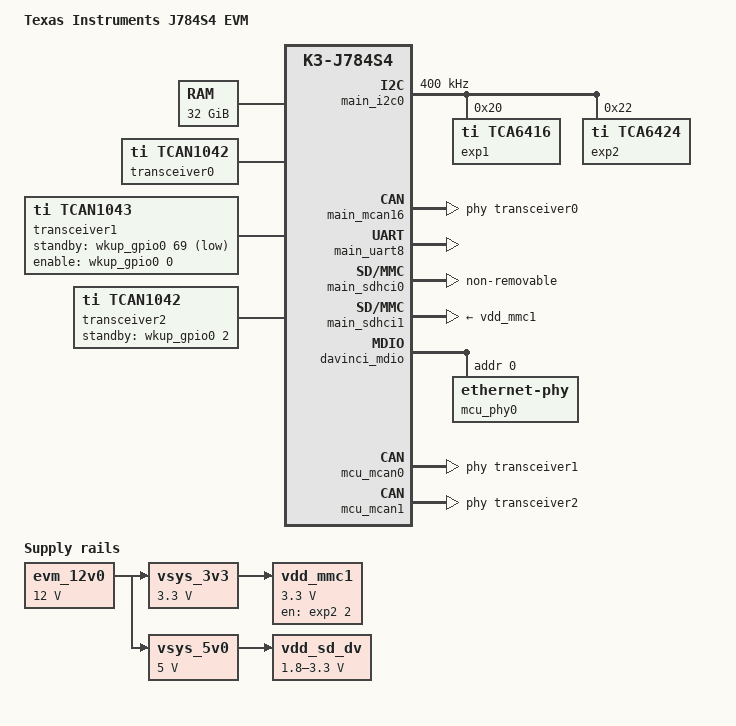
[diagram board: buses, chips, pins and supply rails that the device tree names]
// SPDX-License-Identifier: GPL-2.0
/*
 * Copyright (C) 2022 Texas Instruments Incorporated - https://www.ti.com/
 *
 * Common Processor Board: https://www.ti.com/tool/J721EXCPXEVM
 */

/dts-v1/;

#include "k3-j784s4.dtsi"
#include <dt-bindings/gpio/gpio.h>
#include <dt-bindings/net/ti-dp83867.h>
#include <dt-bindings/phy/phy-cadence.h>
#include <dt-bindings/phy/phy.h>

/ {
	compatible = "ti,j784s4-evm", "ti,j784s4";
	model = "Texas Instruments J784S4 EVM";

	chosen {
		stdout-path = "serial2:115200n8";
		bootargs = "console=ttyS2,115200n8 earlycon=ns16550a,mmio32,0x2880000";
	};
	aliases {
		serial2 = &main_uart8;
		mmc0 = &main_sdhci0;
		mmc1 = &main_sdhci1;
		can0 = &main_mcan16;
		can1 = &mcu_mcan0;
		can2 = &mcu_mcan1;
		remoteproc0 = &mcu_r5fss0_core0;
		remoteproc1 = &mcu_r5fss0_core1;
		remoteproc2 = &main_r5fss0_core0;
		remoteproc3 = &main_r5fss0_core1;
		remoteproc4 = &main_r5fss1_core0;
		remoteproc5 = &main_r5fss1_core1;
		remoteproc6 = &main_r5fss2_core0;
		remoteproc7 = &main_r5fss2_core1;
		remoteproc8 = &c71_0;
		remoteproc9 = &c71_1;
		remoteproc10 = &c71_2;
		remoteproc11 = &c71_3;
	};

	memory@80000000 {
		device_type = "memory";
		/* 8G RAM */
		reg = <0x00 0x80000000 0x00 0x80000000>,
		       <0x08 0x80000000 0x07 0x80000000>;
	};

	/* Reserving memory regions still pending */
	reserved_memory: reserved-memory {
		#address-cells = <2>;
		#size-cells = <2>;
		ranges;

		secure_ddr: optee@9e800000 {
			reg = <0x00 0x9e800000 0x00 0x01800000>;
			alignment = <0x1000>;
			no-map;
		};

	};

	transceiver0: can-phy0 {
		/* standby pin has been grounded by default */
		compatible = "ti,tcan1042";
		#phy-cells = <0>;
		max-bitrate = <5000000>;
	};

	evm_12v0: fixedregulator-evm12v0 {
		/* main supply */
		compatible = "regulator-fixed";
		regulator-name = "evm_12v0";
		regulator-min-microvolt = <12000000>;
		regulator-max-microvolt = <12000000>;
		regulator-always-on;
		regulator-boot-on;
	};

	vsys_3v3: fixedregulator-vsys3v3 {
		/* Output of LM5140 */
		compatible = "regulator-fixed";
		regulator-name = "vsys_3v3";
		regulator-min-microvolt = <3300000>;
		regulator-max-microvolt = <3300000>;
		vin-supply = <&evm_12v0>;
		regulator-always-on;
		regulator-boot-on;
	};

	vsys_5v0: fixedregulator-vsys5v0 {
		/* Output of LM5140 */
		compatible = "regulator-fixed";
		regulator-name = "vsys_5v0";
		regulator-min-microvolt = <5000000>;
		regulator-max-microvolt = <5000000>;
		vin-supply = <&evm_12v0>;
		regulator-always-on;
		regulator-boot-on;
	};

	vdd_mmc1: fixedregulator-sd {
		/* Output of TPS22918 */
		compatible = "regulator-fixed";
		regulator-name = "vdd_mmc1";
		regulator-min-microvolt = <3300000>;
		regulator-max-microvolt = <3300000>;
		regulator-boot-on;
		enable-active-high;
		vin-supply = <&vsys_3v3>;
		gpio = <&exp2 2 GPIO_ACTIVE_HIGH>;
	};

	vdd_sd_dv: gpio-regulator-TLV71033 {
		/* Output of TLV71033 */
		compatible = "regulator-gpio";
		regulator-name = "tlv71033";
		pinctrl-names = "default";
		pinctrl-0 = <&vdd_sd_dv_pins_default>;
		regulator-min-microvolt = <1800000>;
		regulator-max-microvolt = <3300000>;
		regulator-boot-on;
		vin-supply = <&vsys_5v0>;
		gpios = <&main_gpio0 8 GPIO_ACTIVE_HIGH>;
		states = <1800000 0x0>,
			 <3300000 0x1>;
	};

	transceiver1: can-phy1 {
		compatible = "ti,tcan1043";
		#phy-cells = <0>;
		max-bitrate = <5000000>;
		pinctrl-names = "default";
		pinctrl-0 = <&mcu_mcan0_gpio_pins_default>;
		standby-gpios = <&wkup_gpio0 69 GPIO_ACTIVE_LOW>;
		enable-gpios = <&wkup_gpio0 0 GPIO_ACTIVE_HIGH>;
	};

	transceiver2: can-phy2 {
		compatible = "ti,tcan1042";
		#phy-cells = <0>;
		max-bitrate = <5000000>;
		pinctrl-names = "default";
		pinctrl-0 = <&mcu_mcan1_gpio_pins_default>;
		standby-gpios = <&wkup_gpio0 2 GPIO_ACTIVE_HIGH>;
	};

};

&main_pmx0 {
	main_i2c0_pins_default: main-i2c0-pins-default {
		pinctrl-single,pins = <
			J784S4_IOPAD(0x0e0, PIN_INPUT_PULLUP, 0) /* (AN36) I2C0_SCL */
			J784S4_IOPAD(0x0e4, PIN_INPUT_PULLUP, 0) /* (AP37) I2C0_SDA */
		>;
	};

	main_mcan16_pins_default: main-mcan16-pins-default {
		pinctrl-single,pins = <
			J784S4_IOPAD(0x028, PIN_INPUT, 0) /* (AE33) MCAN16_RX */
			J784S4_IOPAD(0x024, PIN_OUTPUT, 0) /* (AH34) MCAN16_TX */
		>;
	};
};

&main_i2c0 {
	pinctrl-names = "default";
	pinctrl-0 = <&main_i2c0_pins_default>;
	clock-frequency = <400000>;

	exp1: gpio@20 {
		compatible = "ti,tca6416";
		reg = <0x20>;
		gpio-controller;
		#gpio-cells = <2>;
		gpio-line-names = "PCIE1_2L_MODE_SEL", "PCIE1_4L_PERSTZ", "PCIE1_2L_RC_RSTZ",
				  "PCIE1_2L_EP_RST_EN", "PCIE0_4L_MODE_SEL", "PCIE0_4L_PERSTZ",
				  "PCIE0_4L_RC_RSTZ", "PCIE0_4L_EP_RST_EN", "PCIE1_4L_PRSNT#",
				  "PCIE0_4L_PRSNT#", "CDCI1_OE1/OE4", "CDCI1_OE2/OE3", "AUDIO_MUX_SEL",
				  "EXP_MUX2", "EXP_MUX3", "GESI_EXP_PHY_RSTZ";
	};

	exp2: gpio@22 {
		compatible = "ti,tca6424";
		reg = <0x22>;
		gpio-controller;
		#gpio-cells = <2>;
		gpio-line-names = "R_GPIO_RGMII1_RST", "ENET2_I2CMUX_SEL", "GPIO_USD_PWR_EN", "USBC_PWR_EN",
				  "USBC_MODE_SEL1", "USBC_MODE_SEL0", "GPIO_LIN_EN", "R_CAN_STB",
				  "CTRL_PM_I2C_OE#", "ENET2_EXP_PWRDN", "ENET2_EXP_SPARE2",
				  "CDCI2_RSTZ", "USB2.0_MUX_SEL", "CANUART_MUX_SEL0", "CANUART_MUX2_SEL1",
				  "CANUART_MUX1_SEL1", "ENET1_EXP_PWRDN", "ENET1_EXP_RESETZ", "ENET1_I2CMUX_SEL",
				  "ENET1_EXP_SPARE2", "ENET2_EXP_RESETZ", "USER_INPUT1", "USER_LED1", "USER_LED2";
	};
};

&main_mcan16 {
	pinctrl-0 = <&main_mcan16_pins_default>;
	pinctrl-names = "default";
	phys = <&transceiver0>;
};

&mailbox0_cluster0 {
	status = "disabled";
};

&mailbox0_cluster1 {
	status = "disabled";
};

&mailbox0_cluster2 {
	status = "disabled";
};

&mailbox0_cluster3 {
	status = "disabled";
};

&mailbox0_cluster4 {
	status = "disabled";
};

&mailbox0_cluster5 {
	status = "disabled";
};

&mailbox0_cluster6 {
	status = "disabled";
};

&mailbox0_cluster7 {
	status = "disabled";
};

&mailbox0_cluster8 {
	status = "disabled";
};

&mailbox0_cluster9 {
	status = "disabled";
};

&mailbox0_cluster10 {
	status = "disabled";
};

&mailbox0_cluster11 {
	status = "disabled";
};

&mailbox1_cluster0 {
	status = "disabled";
};

&mailbox1_cluster1 {
	status = "disabled";
};

&mailbox1_cluster2 {
	status = "disabled";
};

&mailbox1_cluster3 {
	status = "disabled";
};

&mailbox1_cluster4 {
	status = "disabled";
};

&mailbox1_cluster5 {
	status = "disabled";
};

&mailbox1_cluster6 {
	status = "disabled";
};

&mailbox1_cluster7 {
	status = "disabled";
};

&mailbox1_cluster8 {
	status = "disabled";
};

&mailbox1_cluster9 {
	status = "disabled";
};

&mailbox1_cluster10 {
	status = "disabled";
};

&mailbox1_cluster11 {
	status = "disabled";
};

&main_pmx0 {
	main_uart8_pins_default: main-uart8-pins-default {
		pinctrl-single,pins = <
			J784S4_IOPAD(0x040, PIN_INPUT, 14) /* (AF37) MCASP0_AXR0.UART8_CTSn */
			J784S4_IOPAD(0x044, PIN_OUTPUT, 14) /* (AG37) MCASP0_AXR1.UART8_RTSn */
			J784S4_IOPAD(0x0d0, PIN_INPUT, 11) /* (AP38) SPI0_CS1.UART8_RXD */
			J784S4_IOPAD(0x0d4, PIN_OUTPUT, 11) /* (AN38) SPI0_CLK.UART8_TXD */
		>;
	};

	main_i2c3_pins_default: main-i2c3-pins-default {
		pinctrl-single,pins = <
			J784S4_IOPAD(0x064, PIN_INPUT_PULLUP, 13) /* (AF38) MCAN0_TX.I2C3_SCL */
			J784S4_IOPAD(0x060, PIN_INPUT_PULLUP, 13) /* (AE36) MCASP2_AXR1.I2C3_SDA */
		>;
	};

	main_mmc1_pins_default: main-mmc1-pins-default {
		pinctrl-single,pins = <
			J784S4_IOPAD(0x104, PIN_INPUT, 0) /* (AB38) MMC1_CLK */
			J784S4_IOPAD(0x108, PIN_INPUT, 0) /* (AB36) MMC1_CMD */
			J784S4_IOPAD(0x0fc, PIN_INPUT, 0) /* (AA33) MMC1_DAT0 */
			J784S4_IOPAD(0x0f8, PIN_INPUT, 0) /* (AB34) MMC1_DAT1 */
			J784S4_IOPAD(0x0f4, PIN_INPUT, 0) /* (AA32) MMC1_DAT2 */
			J784S4_IOPAD(0x0f0, PIN_INPUT, 0) /* (AC38) MMC1_DAT3 */
			J784S4_IOPAD(0x0e8, PIN_INPUT, 8) /* (AR38) TIMER_IO0.MMC1_SDCD */
		>;
	};

	vdd_sd_dv_pins_default: vdd-sd-dv-pins-default {
		pinctrl-single,pins = <
			J784S4_IOPAD(0x020, PIN_INPUT, 7) /* (AJ35) MCAN15_RX.GPIO0_8 */
		>;
	};
};

&wkup_pmx0 {
	mcu_cpsw_pins_default: mcu-cpsw-pins-default {
		pinctrl-single,pins = <
			J784S4_WKUP_IOPAD(0x094, PIN_INPUT, 0) /* (A35) MCU_RGMII1_RD0 */
			J784S4_WKUP_IOPAD(0x090, PIN_INPUT, 0) /* (B36) MCU_RGMII1_RD1 */
			J784S4_WKUP_IOPAD(0x08c, PIN_INPUT, 0) /* (C36) MCU_RGMII1_RD2 */
			J784S4_WKUP_IOPAD(0x088, PIN_INPUT, 0) /* (D36) MCU_RGMII1_RD3 */
			J784S4_WKUP_IOPAD(0x084, PIN_INPUT, 0) /* (B37) MCU_RGMII1_RXC */
			J784S4_WKUP_IOPAD(0x06c, PIN_INPUT, 0) /* (C37) MCU_RGMII1_RX_CTL */
			J784S4_WKUP_IOPAD(0x07c, PIN_OUTPUT, 0) /* (D37) MCU_RGMII1_TD0 */
			J784S4_WKUP_IOPAD(0x078, PIN_OUTPUT, 0) /* (D38) MCU_RGMII1_TD1 */
			J784S4_WKUP_IOPAD(0x074, PIN_OUTPUT, 0) /* (E37) MCU_RGMII1_TD2 */
			J784S4_WKUP_IOPAD(0x070, PIN_OUTPUT, 0) /* (E38) MCU_RGMII1_TD3 */
			J784S4_WKUP_IOPAD(0x080, PIN_OUTPUT, 0) /* (E36) MCU_RGMII1_TXC */
			J784S4_WKUP_IOPAD(0x068, PIN_OUTPUT, 0) /* (C38) MCU_RGMII1_TX_CTL */
		>;
	};

	mcu_mdio_pins_default: mcu-mdio-pins-default {
		pinctrl-single,pins = <
			J784S4_WKUP_IOPAD(0x09c, PIN_OUTPUT, 0) /* (A36) MCU_MDIO0_MDC */
			J784S4_WKUP_IOPAD(0x098, PIN_INPUT, 0) /* (B35) MCU_MDIO0_MDIO */
		>;
	};

	mcu_mcan0_pins_default: mcu-mcan0-pins-default {
		pinctrl-single,pins = <
			J784S4_WKUP_IOPAD(0x0bc, PIN_INPUT, 0) /* (F38) MCU_MCAN0_RX */
			J784S4_WKUP_IOPAD(0x0b8, PIN_OUTPUT, 0) /* (K33) MCU_MCAN0_TX */
		>;
	};

	mcu_mcan1_pins_default: mcu-mcan1-pins-default {
		pinctrl-single,pins = <
			J784S4_WKUP_IOPAD(0x0d4, PIN_INPUT, 0) /* (K36) WKUP_GPIO0_5.MCU_MCAN1_RX */
			J784S4_WKUP_IOPAD(0x0d0, PIN_OUTPUT, 0) /* (H35) WKUP_GPIO0_4.MCU_MCAN1_TX */
		>;
	};

	mcu_mcan0_gpio_pins_default: mcu-mcan0-gpio-pins-default {
		pinctrl-single,pins = <
			J784S4_WKUP_IOPAD(0x0a8, PIN_INPUT, 7) /* (J38) MCU_SPI0_D1.WKUP_GPIO0_69 */
		>;
	};

	mcu_mcan1_gpio_pins_default: mcu-mcan1-gpio-pins-default {
		pinctrl-single,pins = <
			J784S4_WKUP_IOPAD(0x0c8, PIN_INPUT, 7) /* (J35) WKUP_GPIO0_2 */
		>;
	};
};

&main_gpio2 {
	status = "disabled";
};

&main_gpio4 {
	status = "disabled";
};

&main_gpio6 {
	status = "disabled";
};

&wkup_gpio1 {
	status = "disabled";
};

&wkup_uart0 {
	status = "reserved";
};

&main_uart0 {
	status = "disabled";
};

&main_uart1 {
	status = "disabled";
};

&main_uart2 {
	status = "disabled";
};

&main_uart3 {
	status = "disabled";
};

&main_uart4 {
	status = "disabled";
};

&main_uart5 {
	status = "disabled";
};

&main_uart6 {
	status = "disabled";
};

&main_uart7 {
	status = "disabled";
};

&main_uart8 {
	status = "okay";
	pinctrl-names = "default";
	pinctrl-0 = <&main_uart8_pins_default>;
	/* Shared with TFA on this platform */
	power-domains = <&k3_pds 395 TI_SCI_PD_SHARED>;
};

&main_uart9 {
	status = "disabled";
};

&main_i2c1 {
	status = "disabled";
};

&main_i2c2 {
	status = "disabled";
};

&main_i2c3 {
	status = "disabled";
};

&main_i2c4 {
	status = "disabled";
};

&main_i2c5 {
	status = "disabled";
};

&main_i2c6 {
	status = "disabled";
};

&main_sdhci0 {
	/* eMMC */
	non-removable;
	ti,driver-strength-ohm = <50>;
	/* Disabling all the UHS modes, to re-enable UHS modes, remove the
	 * sdhci-caps-mask and no-1-8-v property. */
	sdhci-caps-mask = <0x00000007 0x00000000>;
	no-1-8-v;
	disable-wp;
};

&main_sdhci1 {
	/* SD card */
	pinctrl-0 = <&main_mmc1_pins_default>;
	pinctrl-names = "default";
	disable-wp;
	vmmc-supply = <&vdd_mmc1>;
	vqmmc-supply = <&vdd_sd_dv>;
	/* Disabling all the UHS modes, to re-enable UHS modes, remove the
	 * sdhci-caps-mask and no-1-8-v property. */
	sdhci-caps-mask = <0x00000007 0x00000000>;
	no-1-8-v;
};

&mcu_cpsw {
	pinctrl-names = "default";
	pinctrl-0 = <&mcu_cpsw_pins_default &mcu_mdio_pins_default>;
};

&davinci_mdio {
	mcu_phy0: ethernet-phy@0 {
		reg = <0>;
		ti,rx-internal-delay = <DP83867_RGMIIDCTL_2_00_NS>;
		ti,fifo-depth = <DP83867_PHYCR_FIFO_DEPTH_4_B_NIB>;
		ti,min-output-impedance;
	};
};

&mcu_mcan0 {
	pinctrl-names = "default";
	pinctrl-0 = <&mcu_mcan0_pins_default>;
	phys = <&transceiver1>;
};

&mcu_mcan1 {
	pinctrl-names = "default";
	pinctrl-0 = <&mcu_mcan1_pins_default>;
	phys = <&transceiver2>;
};


&main_mcan0 {
	status = "disabled";
};

&main_mcan1 {
	status = "disabled";
};

&main_mcan2 {
	status = "disabled";
};

&main_mcan3 {
	status = "disabled";
};

&main_mcan4 {
	status = "disabled";
};

&main_mcan5 {
	status = "disabled";
};

&main_mcan6 {
	status = "disabled";
};

&main_mcan7 {
	status = "disabled";
};

&main_mcan8 {
	status = "disabled";
};

&main_mcan9 {
	status = "disabled";
};

&main_mcan10 {
	status = "disabled";
};

&main_mcan11 {
	status = "disabled";
};

&main_mcan12 {
	status = "disabled";
};

&main_mcan13 {
	status = "disabled";
};

&main_mcan14 {
	status = "disabled";
};

&main_mcan15 {
	status = "disabled";
};

&main_mcan17 {
	status = "disabled";
};
